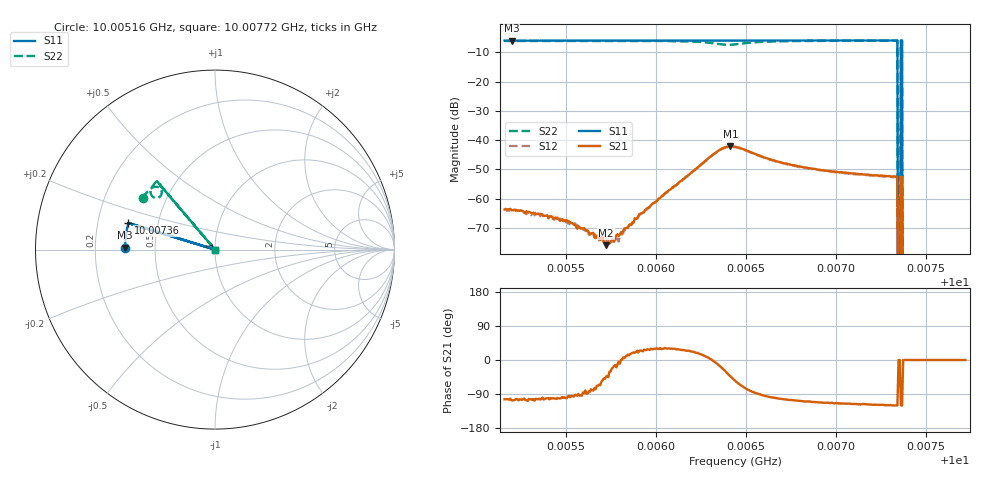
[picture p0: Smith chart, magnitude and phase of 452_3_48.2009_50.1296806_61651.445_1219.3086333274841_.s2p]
#  HZ  S  RI  R  50.00
! Rohde & Schwarz Vector Network Analyzer
! Rohde-Schwarz,ZNB20-2Port,1311601062101988,3.16
! Created: UTC 3/20/2024, 11:56:17 AM
! freq[Hz]  re:S11  im:S11  re:S21  im:S21  re:S12  im:S12  re:S22  im:S22
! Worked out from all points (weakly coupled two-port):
!   401 points, 10.00516 GHz to 10.00772 GHz, reference 50 ohm
!   highest |S21| = -42.15 dB at 10.00641 GHz (marker M1); lowest = -76.0 dB at 10.00572 GHz (marker M2)
!   lowest |S11| = -6.0 dB at 10.0052 GHz (marker M3), VSWR 3.00, Z = 16.7 + j0.445 ohm
!   |S11| at or under -10 dB: 10.00734 GHz to 10.00736 GHz (18.92 kHz wide, 0.000189 % of centre); 10.00737 GHz to end of sweep
!   |S22| runs from - to -6.0 dB; largest |S21 - S12| = 0.00047
!   S11 on the Smith chart (normalised r, x): 10.00516 GHz: 0.33, +0.01; 10.00736 GHz: 0.34, +0.13; 10.00772 GHz: 1.00, +0.00
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1.0005159e10  -0.5004 0.00744  -0.000153 -0.000633  -0.000155 -0.000647  -0.4038 0.2867
1.0005197e10  -0.5002 0.01  -0.000177 -0.000605  -0.000129 -0.000615  -0.4023 0.2891
1.0005453e10  -0.5001 0.0267  -7.97e-05 -0.00045  -6.81e-05 -0.000472  -0.3918 0.3041
1.0005588e10  -0.4999 0.0352  -2.29e-05 -0.000309  1.63e-05 -0.000303  -0.3858 0.3119
1.0005722e10  -0.4996 0.0441  0.000113 -0.00011  0.000144 -0.000143  -0.379 0.3204
1.0005754e10  -0.4995 0.0461  0.000182 -7.69e-05  0.000172 -5.18e-05  -0.3772 0.3223
1.0005799e10  -0.4993 0.0491  0.000238 -4.13e-05  0.00022 1.99e-05  -0.3746 0.3252
1.0005907e10  -0.4987 0.0562  0.000495 0.000226  0.000474 0.000215  -0.3678 0.3323
1.0006016e10  -0.4982 0.0631  0.000882 0.000483  0.000843 0.000533  -0.359 0.3394
1.0006323e10  -0.4953 0.0827  0.00586 -0.000421  0.00572 -0.000131  -0.301 0.3345
1.0006413e10  -0.4943 0.0882  0.0057 -0.00534  0.00586 -0.00493  -0.3097 0.2928
1.0006438e10  -0.4942 0.0897  0.00446 -0.00626  0.0047 -0.00593  -0.3224 0.2877
1.0006662e10  -0.4924 0.1038  -0.000777 -0.00432  -0.00056 -0.00429  -0.3581 0.3284
1.0006867e10  -0.49 0.1169  -0.00115 -0.00302  -0.000985 -0.00303  -0.3492 0.3509
1.0007295e10  -0.4836 0.1441  -0.0012 -0.00211  -0.00106 -0.00213  -0.3273 0.3785
1.0007327e10  -0.483 0.146  -0.00117 -0.00204  -0.00104 -0.00207  -0.3257 0.3802
1.000734e10  -0.4829 0.1468  -0.00117 -0.00205  -0.00103 -0.00204  -0.3251 0.3809
1.0007353e10  0 0  0 0  0 0  0 0
1.0007359e10  -0.4826 0.1479  -0.00116 -0.00202  -0.00103 -0.00204  -0.3241 0.382
1.0007372e10  0 0  0 0  0 0  0 0
1.0007385e10  0 0  0 0  0 0  0 0
1.0007718e10  0 0  0 0  0 0  0 0
